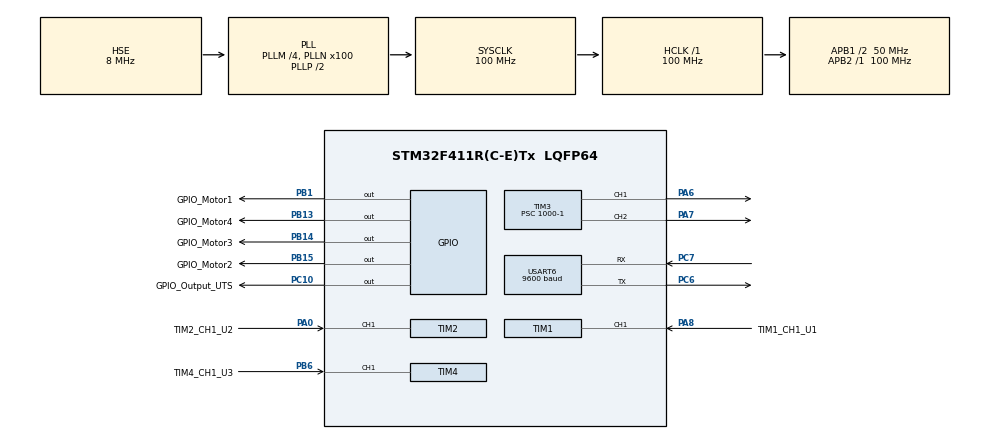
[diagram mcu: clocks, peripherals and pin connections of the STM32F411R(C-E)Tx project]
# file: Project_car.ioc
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FREERTOS.Tasks01=driving_RCCar,24,128,drivingRCCar,Default,NULL,Dynamic,NULL,NULL;measure_distanc,24,128,measureDistance,Default,NULL,Dynamic,NULL,NULL;communication,24,128,connectBT,Default,NULL,Dynamic,NULL,NULL
FREERTOS.configUSE_NEWLIB_REENTRANT=1
Mcu.Family=STM32F4
Mcu.Name=STM32F411R(C-E)Tx
Mcu.Package=LQFP64
NVIC.PriorityGroup=NVIC_PRIORITYGROUP_4
NVIC.TIM1_CC_IRQn=true\:5\:0\:false\:false\:true\:true\:true\:true\:true
NVIC.TIM1_TRG_COM_TIM11_IRQn=true\:15\:0\:false\:false\:true\:false\:false\:true\:true
NVIC.TIM2_IRQn=true\:5\:0\:false\:false\:true\:true\:true\:true\:true
NVIC.TIM3_IRQn=true\:5\:0\:false\:false\:true\:true\:true\:true\:true
NVIC.TIM4_IRQn=true\:5\:0\:false\:false\:true\:true\:true\:true\:true
NVIC.TimeBase=TIM1_TRG_COM_TIM11_IRQn
NVIC.TimeBaseIP=TIM11
NVIC.USART6_IRQn=true\:5\:0\:false\:false\:true\:true\:true\:true\:true
PA0-WKUP.GPIO_Label=TIM2_CH1_U2
PA0-WKUP.Signal=S_TIM2_CH1_ETR
PA13.Mode=Serial_Wire
PA13.Signal=SYS_JTMS-SWDIO
PA14.Mode=Serial_Wire
PA14.Signal=SYS_JTCK-SWCLK
PA6.Signal=S_TIM3_CH1
PA7.Signal=S_TIM3_CH2
PA8.GPIO_Label=TIM1_CH1_U1
PA8.Signal=S_TIM1_CH1
PB1.GPIO_Label=GPIO_Motor1
PB1.Signal=GPIO_Output
PB13.GPIO_Label=GPIO_Motor4
PB13.Signal=GPIO_Output
PB14.GPIO_Label=GPIO_Motor3
PB14.Signal=GPIO_Output
PB15.GPIO_Label=GPIO_Motor2
PB15.Signal=GPIO_Output
PB6.GPIO_Label=TIM4_CH1_U3
PB6.GPIO_PuPd=GPIO_NOPULL
PB6.Signal=S_TIM4_CH1
PC10.GPIO_Label=GPIO_Output_UTS
PC10.GPIO_Speed=GPIO_SPEED_FREQ_VERY_HIGH
PC10.Signal=GPIO_Output
PC6.Mode=Asynchronous
PC6.Signal=USART6_TX
PC7.Mode=Asynchronous
PC7.Signal=USART6_RX
PH0\ -\ OSC_IN.Mode=HSE-External-Oscillator
PH0\ -\ OSC_IN.Signal=RCC_OSC_IN
PH1\ -\ OSC_OUT.Mode=HSE-External-Oscillator
PH1\ -\ OSC_OUT.Signal=RCC_OSC_OUT
ProjectManager.HeapSize=0x200
ProjectManager.StackSize=0x400
ProjectManager.TargetToolchain=STM32CubeIDE
RCC.48MHZClocksFreq_Value=50000000
RCC.AHBFreq_Value=100000000
RCC.APB1CLKDivider=RCC_HCLK_DIV2
RCC.APB1Freq_Value=50000000
RCC.APB1TimFreq_Value=100000000
RCC.APB2Freq_Value=100000000
RCC.APB2TimFreq_Value=100000000
RCC.CortexFreq_Value=100000000
RCC.HCLKFreq_Value=100000000
RCC.HSE_VALUE=8000000
RCC.HSI_VALUE=16000000
RCC.LSE_VALUE=32768
RCC.PLLM=4
RCC.PLLN=100
RCC.PLLSourceVirtual=RCC_PLLSOURCE_HSE
RCC.RCC_RTC_Clock_Source=RCC_RTCCLKSOURCE_LSI
RCC.RCC_RTC_Clock_SourceVirtual=RCC_RTCCLKSOURCE_LSI
RCC.SYSCLKFreq_VALUE=100000000
RCC.SYSCLKSource=RCC_SYSCLKSOURCE_PLLCLK
RCC.VCOOutputFreq_Value=200000000
SH.S_TIM1_CH1.0=TIM1_CH1,Input_Capture1_from_TI1
SH.S_TIM2_CH1_ETR.0=TIM2_CH1,Input_Capture1_from_TI1
SH.S_TIM3_CH1.0=TIM3_CH1,PWM Generation1 CH1
SH.S_TIM3_CH2.0=TIM3_CH2,PWM Generation2 CH2
SH.S_TIM4_CH1.0=TIM4_CH1,Input_Capture1_from_TI1
TIM1.Channel-Input_Capture1_from_TI1=TIM_CHANNEL_1
TIM1.Prescaler=100-1
TIM2.Channel-Input_Capture1_from_TI1=TIM_CHANNEL_1
TIM2.Period=65535
TIM2.Prescaler=100-1
TIM3.Channel-PWM\ Generation1\ CH1=TIM_CHANNEL_1
TIM3.Channel-PWM\ Generation2\ CH2=TIM_CHANNEL_2
TIM3.Period=1000-1
TIM3.Prescaler=1000-1
TIM4.Channel-Input_Capture1_from_TI1=TIM_CHANNEL_1
TIM4.Prescaler=100-1
USART6.BaudRate=9600
USART6.VirtualMode=VM_ASYNC
VP_FREERTOS_VS_CMSIS_V2.Mode=CMSIS_V2
VP_SYS_VS_tim11.Mode=TIM11
VP_TIM1_VS_ClockSourceINT.Mode=Internal
VP_TIM2_VS_ClockSourceINT.Mode=Internal
VP_TIM3_VS_ClockSourceINT.Mode=Internal
VP_TIM4_VS_ClockSourceINT.Mode=Internal
board=custom

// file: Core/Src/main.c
/* USER CODE BEGIN Header */
/**
  ******************************************************************************
  * @file           : main.c
  * @brief          : Main program body
  ******************************************************************************
  * @attention
  *
  * Copyright (c) 2025 STMicroelectronics.
  * All rights reserved.
  *
  * This software is licensed under terms that can be found in the LICENSE file
  * in the root directory of this software component.
  * If no LICENSE file comes with this software, it is provided AS-IS.
  *
  ******************************************************************************
  */
/* USER CODE END Header */
#include "main.h"
#include "cmsis_os.h"
#include "tim.h"
#include "usart.h"
#include "gpio.h"

/* USER CODE BEGIN Includes */

#include "def.h"

/* USER CODE END Includes */

/* USER CODE BEGIN PV */

//uint8_t rx[1];
uint8_t rx_bt[1];
uint8_t command;

extern uint16_t distance[3];

uint8_t rx_distance[100];

Car BoongX2;

/* USER CODE END PV */

void SystemClock_Config(void);
void MX_FREERTOS_Init(void);
/* USER CODE BEGIN PFP */

void HAL_UART_RxCpltCallback(UART_HandleTypeDef *huart)
{
	if(huart -> Instance == USART6)
	{
		 HAL_UART_Transmit_IT(&huart6, rx_bt, sizeof(rx_bt));
		 HAL_UART_Receive_IT(&huart6, rx_bt, sizeof(rx_bt));
	}
}

void RCCarInit(Car* car)
{
	car->command = 0;
	car->d11 = 100; // 적당히 먼 거리로 초기화
	car->d12 = 100; // 적당히 먼 거리로 초기화
	car->d1 = 100; // 적당히 먼 거리로 초기화
	car->speed = 1000;
	car->obstacle_flag = 0;
	car->auto_flag = 0;
	car->rotating_flag = 0;
	car->rotate_end_tick = 0;
}

//void pinState()
//{
//	gpio1 = HAL_GPIO_ReadPin(WHEEL_PORT, WHEEL_L1);
//	gpio2 = HAL_GPIO_ReadPin(WHEEL_PORT, WHEEL_L2);
//	gpio3 = HAL_GPIO_ReadPin(WHEEL_PORT, WHEEL_R1);
//	gpio4 = HAL_GPIO_ReadPin(WHEEL_PORT, WHEEL_R2);
//}

/* USER CODE END PFP */

int main(void)
{

  /* MCU Configuration--------------------------------------------------------*/

  /* Reset of all peripherals, Initializes the Flash interface and the Systick. */
  HAL_Init();

  /* Configure the system clock */
  SystemClock_Config();

  /* Initialize all configured peripherals */
  MX_GPIO_Init();
  MX_TIM3_Init();
  MX_USART6_UART_Init();
  MX_TIM4_Init();
  MX_TIM1_Init();
  MX_TIM2_Init();
  /* USER CODE BEGIN 2 */

  HAL_TIM_Base_Start(&htim1); // 타이머 시작
  HAL_TIM_Base_Start(&htim2); // 타이머 시작
  HAL_TIM_Base_Start(&htim4); // 타이머 시작
  HAL_TIM_IC_Start_IT(&htim1, TIM_CHANNEL_1); // Input Capture 발생 시 인터럽트를 걸도록 설정
  HAL_TIM_IC_Start_IT(&htim2, TIM_CHANNEL_1); // Input Capture 발생 시 인터럽트를 걸도록 설정
  HAL_TIM_IC_Start_IT(&htim4, TIM_CHANNEL_1); // Input Capture 발생 시 인터럽트를 걸도록 설정

  HAL_TIM_PWM_Start(&htim3, TIM_CHANNEL_1);
  HAL_TIM_PWM_Start(&htim3, TIM_CHANNEL_2);

  HAL_UART_Receive_IT(&huart6, rx_bt, sizeof(rx_bt));

  RCCarInit(&BoongX2);
  setSpeed(&BoongX2, BoongX2.speed);
// // HAL_UART_Receive_IT(&huart2, rx_bt, sizeof(rx_bt));

  /* USER CODE END 2 */

  /* Init scheduler */
  osKernelInitialize();

  /* Call init function for freertos objects (in cmsis_os2.c) */
  MX_FREERTOS_Init();

  /* Start scheduler */
  osKernelStart();

  /* We should never get here as control is now taken by the scheduler */

  /* Infinite loop */
  while (1)
  {

  }
}

void SystemClock_Config(void)
{
  RCC_OscInitTypeDef RCC_OscInitStruct = {0};
  RCC_ClkInitTypeDef RCC_ClkInitStruct = {0};

  /** Configure the main internal regulator output voltage
  */
  __HAL_RCC_PWR_CLK_ENABLE();
  __HAL_PWR_VOLTAGESCALING_CONFIG(PWR_REGULATOR_VOLTAGE_SCALE1);

  /** Initializes the RCC Oscillators according to the specified parameters
  * in the RCC_OscInitTypeDef structure.
  */
  RCC_OscInitStruct.OscillatorType = RCC_OSCILLATORTYPE_HSE;
  RCC_OscInitStruct.HSEState = RCC_HSE_ON;
  RCC_OscInitStruct.PLL.PLLState = RCC_PLL_ON;
  RCC_OscInitStruct.PLL.PLLSource = RCC_PLLSOURCE_HSE;
  RCC_OscInitStruct.PLL.PLLM = 4;
  RCC_OscInitStruct.PLL.PLLN = 100;
  RCC_OscInitStruct.PLL.PLLP = RCC_PLLP_DIV2;
  RCC_OscInitStruct.PLL.PLLQ = 4;
  if (HAL_RCC_OscConfig(&RCC_OscInitStruct) != HAL_OK)
  {
    Error_Handler();
  }

  /** Initializes the CPU, AHB and APB buses clocks
  */
  RCC_ClkInitStruct.ClockType = RCC_CLOCKTYPE_HCLK|RCC_CLOCKTYPE_SYSCLK
                              |RCC_CLOCKTYPE_PCLK1|RCC_CLOCKTYPE_PCLK2;
  RCC_ClkInitStruct.SYSCLKSource = RCC_SYSCLKSOURCE_PLLCLK;
  RCC_ClkInitStruct.AHBCLKDivider = RCC_SYSCLK_DIV1;
  RCC_ClkInitStruct.APB1CLKDivider = RCC_HCLK_DIV2;
  RCC_ClkInitStruct.APB2CLKDivider = RCC_HCLK_DIV1;

  if (HAL_RCC_ClockConfig(&RCC_ClkInitStruct, FLASH_LATENCY_3) != HAL_OK)
  {
    Error_Handler();
  }
}

void HAL_TIM_PeriodElapsedCallback(TIM_HandleTypeDef *htim)
{
  if (htim->Instance == TIM11)
  {
    HAL_IncTick();
  }
}

void Error_Handler(void)
{
  __disable_irq();
  while (1)
  {
  }
}

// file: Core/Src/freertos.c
/* USER CODE BEGIN Header */
/**
  ******************************************************************************
  * File Name          : freertos.c
  * Description        : Code for freertos applications
  ******************************************************************************
  * @attention
  *
  * Copyright (c) 2025 STMicroelectronics.
  * All rights reserved.
  *
  * This software is licensed under terms that can be found in the LICENSE file
  * in the root directory of this software component.
  * If no LICENSE file comes with this software, it is provided AS-IS.
  *
  ******************************************************************************
  */
/* USER CODE END Header */

#include "FreeRTOS.h"
#include "task.h"
#include "main.h"
#include "cmsis_os.h"

/* USER CODE BEGIN Includes */
#include "def.h"
/* USER CODE END Includes */

/* USER CODE BEGIN Variables */

extern uint8_t rx_bt[1];
extern Car BoongX2;
extern uint16_t distance[3];

//uint8_t rx_distance[100];

/* USER CODE END Variables */
/* Definitions for driving_RCCar */
osThreadId_t driving_RCCarHandle;
const osThreadAttr_t driving_RCCar_attributes = {
  .name = "driving_RCCar",
  .stack_size = 128 * 4,
  .priority = (osPriority_t) osPriorityNormal,
};
/* Definitions for measure_distanc */
osThreadId_t measure_distancHandle;
const osThreadAttr_t measure_distanc_attributes = {
  .name = "measure_distanc",
  .stack_size = 128 * 4,
  .priority = (osPriority_t) osPriorityNormal,
};
/* Definitions for communication */
osThreadId_t communicationHandle;
const osThreadAttr_t communication_attributes = {
  .name = "communication",
  .stack_size = 128 * 4,
  .priority = (osPriority_t) osPriorityNormal,
};

void drivingRCCar(void *argument);
void measureDistance(void *argument);
void connectBT(void *argument);

void MX_FREERTOS_Init(void); /* (MISRA C 2004 rule 8.1) */

void MX_FREERTOS_Init(void) {

  /* Create the thread(s) */
  /* creation of driving_RCCar */
  driving_RCCarHandle = osThreadNew(drivingRCCar, NULL, &driving_RCCar_attributes);

  /* creation of measure_distanc */
  measure_distancHandle = osThreadNew(measureDistance, NULL, &measure_distanc_attributes);

  /* creation of communication */
  communicationHandle = osThreadNew(connectBT, NULL, &communication_attributes);

}

void drivingRCCar(void *argument)
{
  /* USER CODE BEGIN drivingRCCar */
  /* Infinite loop */
  for(;;)
  {
	  setSpeed(&BoongX2, BoongX2.speed);
	  if(rx_bt[0] >= '0' && rx_bt[0] <= '9')
	  {
		 BoongX2.speed = (rx_bt[0] - '0') * 100;
		 if(!BoongX2.auto_flag)
			 manualDriving(&BoongX2, BoongX2.command);
	  }

	  if(BoongX2.auto_flag)
		  autoDriving(&BoongX2, rx_bt[0]);
	  else
		  manualDriving(&BoongX2, rx_bt[0]);

	  if(rx_bt[0] == 'X')
	  {
		  BoongX2.auto_flag = 1;
		  osDelay(1);
		  continue;
	  }

	  osDelay(1);
  }
  /* USER CODE END drivingRCCar */
}

void measureDistance(void *argument)
{
  /* USER CODE BEGIN measureDistance */
  /* Infinite loop */
  for(;;)
  {
	  HCSR04_Trigger();
	  BoongX2.d1 = distance[0];
	  BoongX2.d12 = distance[1];
	  BoongX2.d11 = distance[2];

	  if(BoongX2.auto_flag)
	  {
		  if(BoongX2.d11 < 15 || BoongX2.d12 < 20 || BoongX2.d1 < 15)
			  BoongX2.obstacle_flag = 1;
	//	  else
	//		  BoongX2.obstacle_flag = 0;
	  }

	  osDelay(10);
  }
  /* USER CODE END measureDistance */
}

void connectBT(void *argument)
{
  /* USER CODE BEGIN connectBT */
  /* Infinite loop */
  for(;;)
  {
	  HAL_UART_Receive_IT(&huart6, rx_bt, sizeof(rx_bt));
	  osDelay(1);
  }
  /* USER CODE END connectBT */
}
